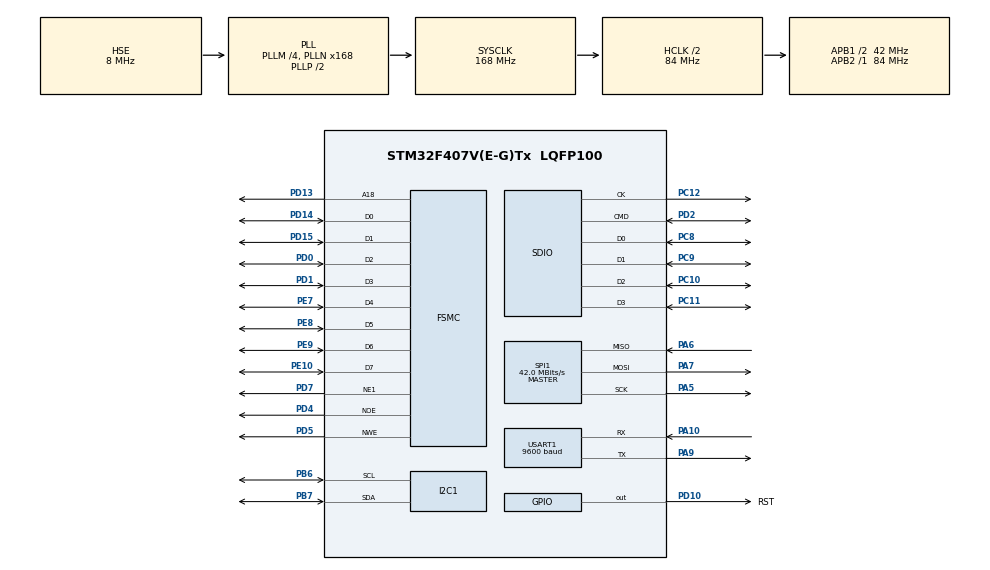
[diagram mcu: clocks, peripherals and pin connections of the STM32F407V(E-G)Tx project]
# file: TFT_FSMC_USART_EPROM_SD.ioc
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Dma.Request0=SDIO_RX
Dma.Request1=SDIO_TX
Dma.SDIO_RX.0.Direction=DMA_PERIPH_TO_MEMORY
Dma.SDIO_RX.0.FIFOMode=DMA_FIFOMODE_ENABLE
Dma.SDIO_RX.0.FIFOThreshold=DMA_FIFO_THRESHOLD_FULL
Dma.SDIO_RX.0.Instance=DMA2_Stream3
Dma.SDIO_RX.0.MemBurst=DMA_MBURST_INC4
Dma.SDIO_RX.0.MemDataAlignment=DMA_MDATAALIGN_WORD
Dma.SDIO_RX.0.MemInc=DMA_MINC_ENABLE
Dma.SDIO_RX.0.Mode=DMA_PFCTRL
Dma.SDIO_RX.0.PeriphBurst=DMA_PBURST_INC4
Dma.SDIO_RX.0.PeriphDataAlignment=DMA_PDATAALIGN_WORD
Dma.SDIO_RX.0.PeriphInc=DMA_PINC_DISABLE
Dma.SDIO_RX.0.Priority=DMA_PRIORITY_LOW
Dma.SDIO_TX.1.Direction=DMA_MEMORY_TO_PERIPH
Dma.SDIO_TX.1.FIFOMode=DMA_FIFOMODE_ENABLE
Dma.SDIO_TX.1.FIFOThreshold=DMA_FIFO_THRESHOLD_FULL
Dma.SDIO_TX.1.Instance=DMA2_Stream6
Dma.SDIO_TX.1.MemBurst=DMA_MBURST_INC4
Dma.SDIO_TX.1.MemDataAlignment=DMA_MDATAALIGN_WORD
Dma.SDIO_TX.1.MemInc=DMA_MINC_ENABLE
Dma.SDIO_TX.1.Mode=DMA_PFCTRL
Dma.SDIO_TX.1.PeriphBurst=DMA_PBURST_INC4
Dma.SDIO_TX.1.PeriphDataAlignment=DMA_PDATAALIGN_WORD
Dma.SDIO_TX.1.PeriphInc=DMA_PINC_DISABLE
Dma.SDIO_TX.1.Priority=DMA_PRIORITY_LOW
FATFS.USE_DMA_CODE_SD=1
FATFS._MAX_SS=4096
FSMC.AddressSetupTime1=6
FSMC.BusTurnAroundDuration1=0
FSMC.DataSetupTime1=6
Mcu.Family=STM32F4
Mcu.Name=STM32F407V(E-G)Tx
Mcu.Package=LQFP100
NVIC.DMA2_Stream3_IRQn=true\:0\:0\:false\:false\:true\:false\:true\:true
NVIC.DMA2_Stream6_IRQn=true\:0\:0\:false\:false\:true\:false\:true\:true
NVIC.PriorityGroup=NVIC_PRIORITYGROUP_4
NVIC.SDIO_IRQn=true\:0\:0\:false\:false\:true\:true\:true\:true
PA10.Mode=Asynchronous
PA10.Signal=USART1_RX
PA13.Mode=Serial_Wire
PA13.Signal=SYS_JTMS-SWDIO
PA14.Mode=Serial_Wire
PA14.Signal=SYS_JTCK-SWCLK
PA5.Mode=Full_Duplex_Master
PA5.Signal=SPI1_SCK
PA6.Mode=Full_Duplex_Master
PA6.Signal=SPI1_MISO
PA7.Mode=Full_Duplex_Master
PA7.Signal=SPI1_MOSI
PA9.Mode=Asynchronous
PA9.Signal=USART1_TX
PB6.Mode=I2C
PB6.Signal=I2C1_SCL
PB7.Mode=I2C
PB7.Signal=I2C1_SDA
PC10.Mode=SD_4_bits_Wide_bus
PC10.Signal=SDIO_D2
PC11.Mode=SD_4_bits_Wide_bus
PC11.Signal=SDIO_D3
PC12.Mode=SD_4_bits_Wide_bus
PC12.Signal=SDIO_CK
PC8.Mode=SD_4_bits_Wide_bus
PC8.Signal=SDIO_D0
PC9.Mode=SD_4_bits_Wide_bus
PC9.Signal=SDIO_D1
PD0.Mode=8b-d1
PD0.Signal=FSMC_D2
PD1.Mode=8b-d1
PD1.Signal=FSMC_D3
PD10.GPIO_Label=RST
PD10.Signal=GPIO_Output
PD13.Mode=A18_1
PD13.Signal=FSMC_A18
PD14.Mode=8b-d1
PD14.Signal=FSMC_D0
PD15.Mode=8b-d1
PD15.Signal=FSMC_D1
PD2.Mode=SD_4_bits_Wide_bus
PD2.Signal=SDIO_CMD
PD4.Mode=Lcd1
PD4.Signal=FSMC_NOE
PD5.Mode=Lcd1
PD5.Signal=FSMC_NWE
PD7.Mode=NorPsramChipSelect1_1
PD7.Signal=FSMC_NE1
PE10.Mode=8b-d1
PE10.Signal=FSMC_D7
PE7.Mode=8b-d1
PE7.Signal=FSMC_D4
PE8.Mode=8b-d1
PE8.Signal=FSMC_D5
PE9.Mode=8b-d1
PE9.Signal=FSMC_D6
PH0-OSC_IN.Mode=HSE-External-Oscillator
PH0-OSC_IN.Signal=RCC_OSC_IN
PH1-OSC_OUT.Mode=HSE-External-Oscillator
PH1-OSC_OUT.Signal=RCC_OSC_OUT
ProjectManager.HeapSize=0x400
ProjectManager.StackSize=0x800
ProjectManager.TargetToolchain=STM32CubeIDE
RCC.48MHZClocksFreq_Value=48000000
RCC.AHBCLKDivider=RCC_SYSCLK_DIV2
RCC.AHBFreq_Value=84000000
RCC.APB1CLKDivider=RCC_HCLK_DIV2
RCC.APB1Freq_Value=42000000
RCC.APB1TimFreq_Value=84000000
RCC.APB2Freq_Value=84000000
RCC.APB2TimFreq_Value=84000000
RCC.CortexFreq_Value=84000000
RCC.HCLKFreq_Value=84000000
RCC.HSE_VALUE=8000000
RCC.HSI_VALUE=16000000
RCC.LSE_VALUE=32768
RCC.PLLM=4
RCC.PLLN=168
RCC.PLLQ=7
RCC.PLLSourceVirtual=RCC_PLLSOURCE_HSE
RCC.SYSCLKFreq_VALUE=168000000
RCC.SYSCLKSource=RCC_SYSCLKSOURCE_PLLCLK
RCC.VCOOutputFreq_Value=336000000
SDIO.ClockDiv=4
SPI1.CalculateBaudRate=42.0 MBits/s
SPI1.Direction=SPI_DIRECTION_2LINES
SPI1.Mode=SPI_MODE_MASTER
SPI1.VirtualType=VM_MASTER
USART1.BaudRate=9600
USART1.VirtualMode=VM_ASYNC
VP_FATFS_VS_SDIO.Mode=SDIO
board=custom

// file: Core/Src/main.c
/* USER CODE BEGIN Header */
/**
  ******************************************************************************
  * @file           : main.c
  * @brief          : Main program body
  ******************************************************************************
  * @attention
  *
  * Copyright (c) 2022 STMicroelectronics.
  * All rights reserved.
  *
  * This software is licensed under terms that can be found in the LICENSE file
  * in the root directory of this software component.
  * If no LICENSE file comes with this software, it is provided AS-IS.
  *
  ******************************************************************************
  */
/* USER CODE END Header */
#include "main.h"
#include "fatfs.h"

/* USER CODE BEGIN Includes */
#include <stdio.h>
#include "MA_ILI9341.h"
#include "retarget.h"
#include "AT24Cxxx.h"
/* USER CODE END Includes */

 I2C_HandleTypeDef hi2c1;

SD_HandleTypeDef hsd;
DMA_HandleTypeDef hdma_sdio_rx;
DMA_HandleTypeDef hdma_sdio_tx;

SPI_HandleTypeDef hspi1;

UART_HandleTypeDef huart1;

SRAM_HandleTypeDef hsram1;

/* USER CODE BEGIN PV */
/* Private variables ---------------------------------------------------------*/
uint8_t RX1_Char = 0x00;
/* USER CODE END PV */

void SystemClock_Config(void);
static void MX_GPIO_Init(void);
static void MX_FSMC_Init(void);
static void MX_I2C1_Init(void);
static void MX_SDIO_SD_Init(void);
static void MX_DMA_Init(void);
static void MX_USART1_UART_Init(void);
static void MX_SPI1_Init(void);
/* USER CODE BEGIN PFP */
/* Private function prototypes -----------------------------------------------*/

/* USER CODE END PFP */

int main(void)
{
  /* USER CODE BEGIN 1 */

  // EPROM + TFT vars
  char 		buf[100];				// buffer for EPROM read
  uint8_t 	line = 5;				// line counter for TFT display

  uint8_t 	com_stat;				// read/write status for EPROM
  uint8_t 	my_data_w[21] = "Test test test";	// buffer to write to EPROM
  uint8_t 	my_data_r[21] = "";			// buffer  to write from EPROM

  // SD Card vars

  FRESULT 	res;					// FATfs function result code
  uint32_t 	byteswritten, bytesread;		// counters for read/write
  uint8_t 	wtext[] = "STM32 FATFS works great!";	// write buff
  uint8_t	rtext[_MAX_SS];				// read buff

  /* USER CODE END 1 */

  /* MCU Configuration--------------------------------------------------------*/

  /* Reset of all peripherals, Initializes the Flash interface and the Systick. */
  HAL_Init();

  /* Configure the system clock */
  SystemClock_Config();

  /* Initialize all configured peripherals */
  MX_GPIO_Init();
  MX_FSMC_Init();
  MX_I2C1_Init();
  MX_SDIO_SD_Init();
  MX_DMA_Init();
  MX_FATFS_Init();
  MX_USART1_UART_Init();
  MX_SPI1_Init();
  /* USER CODE BEGIN 2 */
  RetargetInit(&huart1);

  // reset Display

  HAL_GPIO_WritePin (RST_GPIO_Port, RST_Pin, GPIO_PIN_RESET);
  HAL_Delay (10);
  HAL_GPIO_WritePin (RST_GPIO_Port, RST_Pin, GPIO_PIN_SET);

  // Init display
  ILI9341_Init ();
  ILI9341_setRotation (2);
  ILI9341_Fill (COLOR_BLACK);

  // Print text
  ILI9341_printText ("STM32F4VE ready!", 5, line, COLOR_GREEN, COLOR_BLACK, 2);
  line += 20;
  printf("\r\nInfo: MCU STM32F4VE startup\r\n");

  // write to SDRAM
 // com_stat = HAL_I2C_Mem_Erase()

 // com_stat = HAL_I2C_Mem_Write2(&hi2c1 , 0xA0, 1, I2C_MEMADD_SIZE_16BIT, my_data_w, strlen(my_data_w), 100);

  // read from SDRAM
 // com_stat = HAL_I2C_Mem_Read2(&hi2c1, 0xA0, 1, I2C_MEMADD_SIZE_16BIT, my_data_r, sizeof(my_data_r), 100);

  // FATFS SD code, format SD card FAT32, create file
/*
  if (f_mount (&SDFatFS, (TCHAR const*) SDPath, 0) != FR_OK) {
      Error_Handler ();
  } else {
      if (f_mkfs ((TCHAR const*) SDPath, FM_ANY, 0, rtext, sizeof(rtext)) != FR_OK) {
	  Error_Handler ();
      } else {
	  //Open file for writing (Create)
	  if (f_open (&SDFile, "STM32.TXT", FA_CREATE_ALWAYS | FA_WRITE) != FR_OK) {
	      Error_Handler ();
	  } else {
	      //Write to the text file
	      res = f_write (&SDFile, wtext, strlen ((char*) wtext), (void*) &byteswritten);
	      if ((byteswritten == 0) || (res != FR_OK)) {
		  Error_Handler ();
	      } else {
		  f_close (&SDFile);
	      }
	  }
      }
  }
  f_mount (&SDFatFS, (TCHAR const*) NULL, 0);
  printf("\r\nInfo: File created successfully\r\n");
*/

  /* USER CODE END 2 */

  /* Infinite loop */
  /* USER CODE BEGIN WHILE */
  while (1)
  {

//      ILI9341_printText (my_data_r, 5, line, COLOR_GREEN, COLOR_BLACK, 2);
//      line += 20;
//      if (line > 240) {
//	  ILI9341_Fill (COLOR_BLACK );
//	  line = 5;
//      }
      com_stat = HAL_I2C_Mem_Read2(&hi2c1, 0xA0, 75, I2C_MEMADD_SIZE_16BIT, my_data_r, 15, 100);
      HAL_Delay(1000);
    /* USER CODE END WHILE */

  }
}

void SystemClock_Config(void)
{
  RCC_OscInitTypeDef RCC_OscInitStruct = {0};
  RCC_ClkInitTypeDef RCC_ClkInitStruct = {0};

  /** Configure the main internal regulator output voltage
  */
  __HAL_RCC_PWR_CLK_ENABLE();
  __HAL_PWR_VOLTAGESCALING_CONFIG(PWR_REGULATOR_VOLTAGE_SCALE1);

  /** Initializes the RCC Oscillators according to the specified parameters
  * in the RCC_OscInitTypeDef structure.
  */
  RCC_OscInitStruct.OscillatorType = RCC_OSCILLATORTYPE_HSE;
  RCC_OscInitStruct.HSEState = RCC_HSE_ON;
  RCC_OscInitStruct.PLL.PLLState = RCC_PLL_ON;
  RCC_OscInitStruct.PLL.PLLSource = RCC_PLLSOURCE_HSE;
  RCC_OscInitStruct.PLL.PLLM = 4;
  RCC_OscInitStruct.PLL.PLLN = 168;
  RCC_OscInitStruct.PLL.PLLP = RCC_PLLP_DIV2;
  RCC_OscInitStruct.PLL.PLLQ = 7;
  if (HAL_RCC_OscConfig(&RCC_OscInitStruct) != HAL_OK)
  {
    Error_Handler();
  }

  /** Initializes the CPU, AHB and APB buses clocks
  */
  RCC_ClkInitStruct.ClockType = RCC_CLOCKTYPE_HCLK|RCC_CLOCKTYPE_SYSCLK
                              |RCC_CLOCKTYPE_PCLK1|RCC_CLOCKTYPE_PCLK2;
  RCC_ClkInitStruct.SYSCLKSource = RCC_SYSCLKSOURCE_PLLCLK;
  RCC_ClkInitStruct.AHBCLKDivider = RCC_SYSCLK_DIV2;
  RCC_ClkInitStruct.APB1CLKDivider = RCC_HCLK_DIV2;
  RCC_ClkInitStruct.APB2CLKDivider = RCC_HCLK_DIV1;

  if (HAL_RCC_ClockConfig(&RCC_ClkInitStruct, FLASH_LATENCY_2) != HAL_OK)
  {
    Error_Handler();
  }
}

static void MX_I2C1_Init(void)
{

  hi2c1.Instance = I2C1;
  hi2c1.Init.ClockSpeed = 100000;
  hi2c1.Init.DutyCycle = I2C_DUTYCYCLE_2;
  hi2c1.Init.OwnAddress1 = 0;
  hi2c1.Init.AddressingMode = I2C_ADDRESSINGMODE_7BIT;
  hi2c1.Init.DualAddressMode = I2C_DUALADDRESS_DISABLE;
  hi2c1.Init.OwnAddress2 = 0;
  hi2c1.Init.GeneralCallMode = I2C_GENERALCALL_DISABLE;
  hi2c1.Init.NoStretchMode = I2C_NOSTRETCH_DISABLE;
  if (HAL_I2C_Init(&hi2c1) != HAL_OK)
  {
    Error_Handler();
  }

}

static void MX_SDIO_SD_Init(void)
{

  hsd.Instance = SDIO;
  hsd.Init.ClockEdge = SDIO_CLOCK_EDGE_RISING;
  hsd.Init.ClockBypass = SDIO_CLOCK_BYPASS_DISABLE;
  hsd.Init.ClockPowerSave = SDIO_CLOCK_POWER_SAVE_DISABLE;
  hsd.Init.BusWide = SDIO_BUS_WIDE_1B;
  hsd.Init.HardwareFlowControl = SDIO_HARDWARE_FLOW_CONTROL_DISABLE;
  hsd.Init.ClockDiv = 4;

}

static void MX_SPI1_Init(void)
{

  /* SPI1 parameter configuration*/
  hspi1.Instance = SPI1;
  hspi1.Init.Mode = SPI_MODE_MASTER;
  hspi1.Init.Direction = SPI_DIRECTION_2LINES;
  hspi1.Init.DataSize = SPI_DATASIZE_8BIT;
  hspi1.Init.CLKPolarity = SPI_POLARITY_LOW;
  hspi1.Init.CLKPhase = SPI_PHASE_1EDGE;
  hspi1.Init.NSS = SPI_NSS_SOFT;
  hspi1.Init.BaudRatePrescaler = SPI_BAUDRATEPRESCALER_2;
  hspi1.Init.FirstBit = SPI_FIRSTBIT_MSB;
  hspi1.Init.TIMode = SPI_TIMODE_DISABLE;
  hspi1.Init.CRCCalculation = SPI_CRCCALCULATION_DISABLE;
  hspi1.Init.CRCPolynomial = 10;
  if (HAL_SPI_Init(&hspi1) != HAL_OK)
  {
    Error_Handler();
  }

}

static void MX_USART1_UART_Init(void)
{

  huart1.Instance = USART1;
  huart1.Init.BaudRate = 9600;
  huart1.Init.WordLength = UART_WORDLENGTH_8B;
  huart1.Init.StopBits = UART_STOPBITS_1;
  huart1.Init.Parity = UART_PARITY_NONE;
  huart1.Init.Mode = UART_MODE_TX_RX;
  huart1.Init.HwFlowCtl = UART_HWCONTROL_NONE;
  huart1.Init.OverSampling = UART_OVERSAMPLING_16;
  if (HAL_UART_Init(&huart1) != HAL_OK)
  {
    Error_Handler();
  }

}

static void MX_DMA_Init(void)
{

  /* DMA controller clock enable */
  __HAL_RCC_DMA2_CLK_ENABLE();

  /* DMA interrupt init */
  /* DMA2_Stream3_IRQn interrupt configuration */
  HAL_NVIC_SetPriority(DMA2_Stream3_IRQn, 0, 0);
  HAL_NVIC_EnableIRQ(DMA2_Stream3_IRQn);
  /* DMA2_Stream6_IRQn interrupt configuration */
  HAL_NVIC_SetPriority(DMA2_Stream6_IRQn, 0, 0);
  HAL_NVIC_EnableIRQ(DMA2_Stream6_IRQn);

}

static void MX_GPIO_Init(void)
{
  GPIO_InitTypeDef GPIO_InitStruct = {0};

  /* GPIO Ports Clock Enable */
  __HAL_RCC_GPIOH_CLK_ENABLE();
  __HAL_RCC_GPIOA_CLK_ENABLE();
  __HAL_RCC_GPIOE_CLK_ENABLE();
  __HAL_RCC_GPIOD_CLK_ENABLE();
  __HAL_RCC_GPIOC_CLK_ENABLE();
  __HAL_RCC_GPIOB_CLK_ENABLE();

  /*Configure GPIO pin Output Level */
  HAL_GPIO_WritePin(RST_GPIO_Port, RST_Pin, GPIO_PIN_RESET);

  /*Configure GPIO pin : RST_Pin */
  GPIO_InitStruct.Pin = RST_Pin;
  GPIO_InitStruct.Mode = GPIO_MODE_OUTPUT_PP;
  GPIO_InitStruct.Pull = GPIO_NOPULL;
  GPIO_InitStruct.Speed = GPIO_SPEED_FREQ_LOW;
  HAL_GPIO_Init(RST_GPIO_Port, &GPIO_InitStruct);

}

/* FSMC initialization function */
static void MX_FSMC_Init(void)
{

  FSMC_NORSRAM_TimingTypeDef Timing = {0};

  /** Perform the SRAM1 memory initialization sequence
  */
  hsram1.Instance = FSMC_NORSRAM_DEVICE;
  hsram1.Extended = FSMC_NORSRAM_EXTENDED_DEVICE;
  /* hsram1.Init */
  hsram1.Init.NSBank = FSMC_NORSRAM_BANK1;
  hsram1.Init.DataAddressMux = FSMC_DATA_ADDRESS_MUX_DISABLE;
  hsram1.Init.MemoryType = FSMC_MEMORY_TYPE_SRAM;
  hsram1.Init.MemoryDataWidth = FSMC_NORSRAM_MEM_BUS_WIDTH_8;
  hsram1.Init.BurstAccessMode = FSMC_BURST_ACCESS_MODE_DISABLE;
  hsram1.Init.WaitSignalPolarity = FSMC_WAIT_SIGNAL_POLARITY_LOW;
  hsram1.Init.WrapMode = FSMC_WRAP_MODE_DISABLE;
  hsram1.Init.WaitSignalActive = FSMC_WAIT_TIMING_BEFORE_WS;
  hsram1.Init.WriteOperation = FSMC_WRITE_OPERATION_ENABLE;
  hsram1.Init.WaitSignal = FSMC_WAIT_SIGNAL_DISABLE;
  hsram1.Init.ExtendedMode = FSMC_EXTENDED_MODE_DISABLE;
  hsram1.Init.AsynchronousWait = FSMC_ASYNCHRONOUS_WAIT_DISABLE;
  hsram1.Init.WriteBurst = FSMC_WRITE_BURST_DISABLE;
  hsram1.Init.PageSize = FSMC_PAGE_SIZE_NONE;
  /* Timing */
  Timing.AddressSetupTime = 6;
  Timing.AddressHoldTime = 15;
  Timing.DataSetupTime = 6;
  Timing.BusTurnAroundDuration = 0;
  Timing.CLKDivision = 16;
  Timing.DataLatency = 17;
  Timing.AccessMode = FSMC_ACCESS_MODE_A;
  /* ExtTiming */

  if (HAL_SRAM_Init(&hsram1, &Timing, NULL) != HAL_OK)
  {
    Error_Handler( );
  }

}

void Error_Handler(void)
{
  /* USER CODE BEGIN Error_Handler_Debug */
  /* User can add his own implementation to report the HAL error return state */
  printf("\r\nError: General error\r\n");
  while(1)
  {
  }
  /* USER CODE END Error_Handler_Debug */
}
